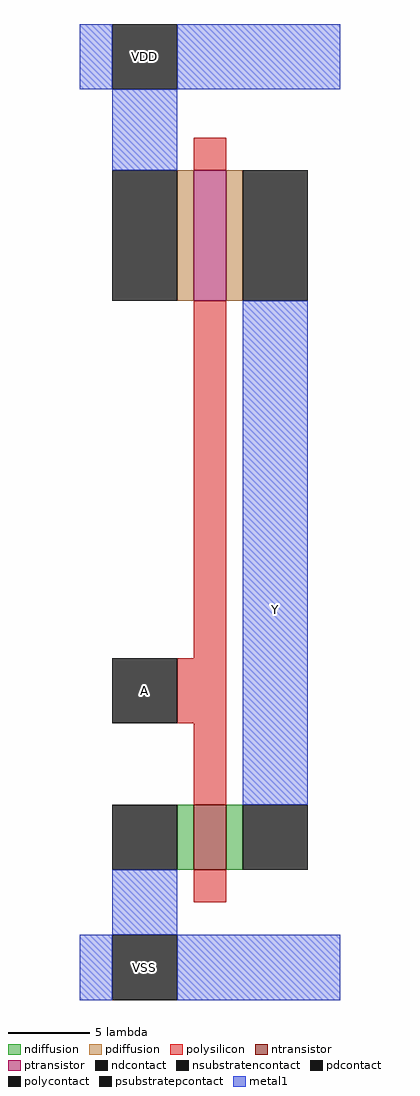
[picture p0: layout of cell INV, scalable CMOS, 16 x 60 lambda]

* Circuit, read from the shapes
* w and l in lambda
.subckt INV A VDD VSS Y
M1 Y A VSS VSS nfet w=4 l=2
M2 Y A VDD VDD pfet w=8 l=2
.ends

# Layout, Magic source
magic
tech scmos
<< ntransistor >>
rect 2 9 4 13
<< ptransistor >>
rect 2 44 4 52
<< ndiffusion >>
rect 1 9 2 13
rect 4 9 5 13
<< pdiffusion >>
rect 1 44 2 52
rect 4 44 5 52
<< ndcontact >>
rect -3 9 1 13
rect 5 9 9 13
<< pdcontact >>
rect -3 44 1 52
rect 5 44 9 52
<< psubstratepcontact >>
rect -3 1 1 5
<< nsubstratencontact >>
rect -3 57 1 61
<< polysilicon >>
rect 2 52 4 54
rect 2 22 4 44
rect 1 18 4 22
rect 2 13 4 18
rect 2 7 4 9
<< polycontact >>
rect -3 18 1 22
<< metal1 >>
rect -5 57 -3 61
rect 1 57 11 61
rect -3 52 1 57
rect 5 13 9 44
rect -3 5 1 9
rect -5 1 -3 5
rect 1 1 11 5
<< labels >>
rlabel psubstratepcontact -1 3 -1 3 1 VSS
rlabel polycontact -1 20 -1 20 1 A
rlabel metal1 7 25 7 25 1 Y
rlabel nsubstratencontact -1 59 -1 59 1 VDD
<< end >>
